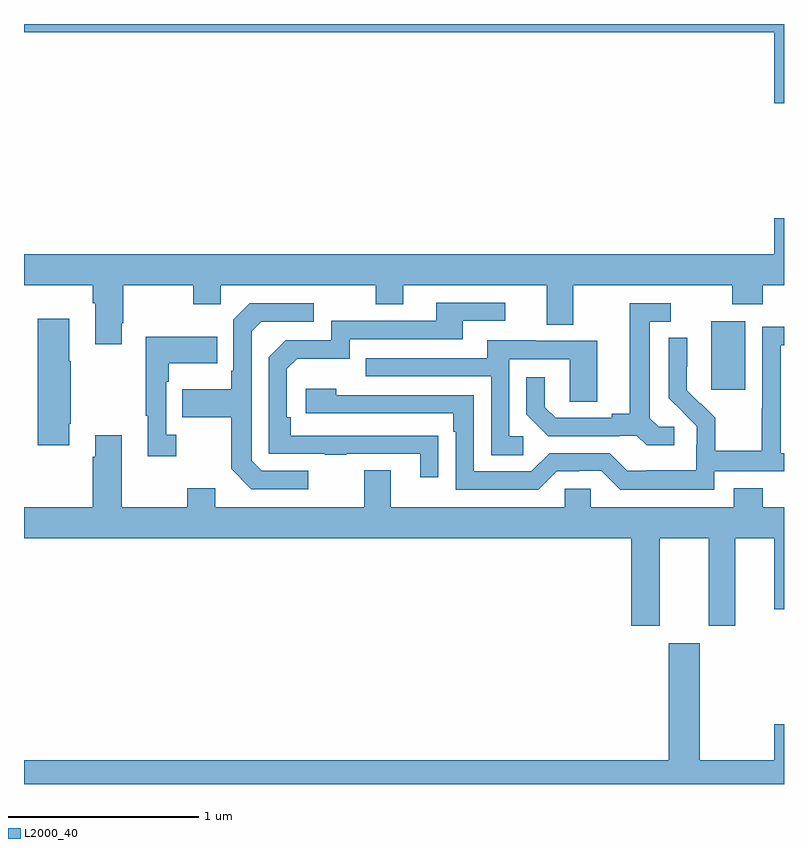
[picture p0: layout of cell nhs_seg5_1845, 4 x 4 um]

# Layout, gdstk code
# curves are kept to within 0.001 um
import gdstk
lib = gdstk.Library(unit=1e-6, precision=1e-09)
def R(c, l, rs):  # rectangles x0, y0, x1, y1
    for r in rs: c.add(gdstk.rectangle(r[:2], r[2:], *l))
def P(c, l, *ps):  # polygons
    for p in ps: c.add(gdstk.Polygon(p, *l))
L2000_40 = (2000, 40)

nhs_seg5_1845 = lib.new_cell('nhs_seg5_1845')
R(nhs_seg5_1845, L2000_40, [(224.618,858.873,224.797,859.234)])
P(nhs_seg5_1845, L2000_40, [(225,860.799),(221,860.799),(221,860.756),(224.948,860.756),(224.948,860.382),(225,860.382)],
  [(221.515,859.225),(221.523,859.225),(221.523,859.424),(221.89,859.424),(221.89,859.325),(222.036,859.325),(222.036,859.424),(222.85,859.424),(222.85,859.325),(222.997,859.325),(222.997,859.424),(223.751,859.424),(223.751,859.216),(223.891,859.216),(223.891,859.424),(224.728,859.424),(224.728,859.325),(224.888,859.325),(224.888,859.424),(225,859.424),(225,859.777),(224.948,859.777),(224.948,859.588),(221,859.588),(221,859.424),(221.363,859.424),(221.363,859.328),(221.375,859.328),(221.375,859.113),(221.515,859.113)],
  [(223.181,858.632),(222.404,858.633),(222.404,858.73),(222.384,858.73),(222.384,858.984),(222.437,859.037),(222.714,859.037),(222.714,859.14),(223.309,859.14),(223.309,859.236),(223.534,859.236),(223.534,859.332),(223.169,859.332),(223.169,859.236),(222.618,859.236),(222.618,859.134),(222.378,859.134),(222.288,859.044),(222.288,858.537),(222.583,858.537),(222.583,858.532),(222.695,858.532),(222.695,858.537),(223.085,858.537),(223.085,858.414),(223.181,858.414)],
  [(222.496,858.447),(222.252,858.447),(222.198,858.501),(222.198,859.182),(222.249,859.233),(222.526,859.233),(222.526,859.329),(222.189,859.329),(222.102,859.242),(222.102,858.973),(222.09,858.973),(222.09,858.877),(221.833,858.877),(221.833,858.73),(222.09,858.73),(222.09,858.457),(222.195,858.351),(222.496,858.351)],
  [(224.422,858.678),(224.34,858.678),(224.293,858.725),(224.293,859.233),(224.404,859.233),(224.404,859.329),(224.189,859.329),(224.189,858.749),(224.093,858.749),(224.093,858.726),(223.798,858.726),(223.741,858.783),(223.741,858.94),(223.644,858.94),(223.644,858.746),(223.76,858.63),(224.132,858.63),(224.132,858.633),(224.226,858.633),(224.278,858.581),(224.422,858.581)],
  [(221.239,858.694),(221.247,858.694),(221.247,859.025),(221.239,859.025),(221.239,859.249),(221.072,859.249),(221.072,858.582),(221.239,858.582)],
  [(224.634,858.444),(225,858.444),(225,858.54),(224.982,858.54),(224.982,859.107),(225,859.107),(225,859.206),(224.886,859.206),(224.886,858.776),(224.884,858.776),(224.884,858.553),(224.639,858.553),(224.639,858.727),(224.562,858.804),(224.559,858.801),(224.489,858.872),(224.49,859.148),(224.394,859.148),(224.394,858.83),(224.54,858.682),(224.54,858.585),(224.538,858.585),(224.538,858.451),(224.275,858.451),(224.275,858.447),(224.175,858.447),(224.082,858.54),(223.767,858.54),(223.671,858.444),(223.368,858.444),(223.368,858.846),(222.644,858.846),(222.644,858.88),(222.483,858.88),(222.483,858.75),(223.259,858.75),(223.259,858.653),(223.272,858.653),(223.272,858.348),(223.707,858.348),(223.803,858.444),(223.922,858.444),(223.922,858.447),(224.037,858.447),(224.137,858.347),(224.634,858.347)],
  [(221.8,858.638),(221.748,858.638),(221.748,858.917),(221.761,858.917),(221.761,859.013),(222.017,859.013),(222.017,859.153),(221.64,859.153),(221.64,858.737),(221.651,858.737),(221.651,858.525),(221.8,858.525)],
  [(223.627,858.63),(223.554,858.63),(223.554,859.035),(223.872,859.035),(223.872,858.811),(224.017,858.811),(224.017,859.131),(223.693,859.131),(223.693,859.135),(223.439,859.135),(223.439,859.041),(222.799,859.041),(222.799,858.945),(223.458,858.945),(223.458,858.529),(223.627,858.529)],
  [(224.347,858.092),(224.603,858.092),(224.603,857.631),(224.743,857.631),(224.743,858.092),(224.948,858.092),(224.948,857.718),(225,857.718),(225,858.256),(224.888,858.256),(224.888,858.355),(224.735,858.355),(224.735,858.256),(223.983,858.256),(223.983,858.354),(223.845,858.354),(223.845,858.256),(222.931,858.256),(222.931,858.451),(222.791,858.451),(222.791,858.256),(222.007,858.256),(222.007,858.355),(221.86,858.355),(221.86,858.256),(221.515,858.256),(221.515,858.634),(221.375,858.634),(221.375,858.521),(221.363,858.521),(221.363,858.256),(221,858.256),(221,858.092),(224.195,858.092),(224.195,857.631),(224.347,857.631)],
  [(225,857.113),(224.948,857.113),(224.948,856.924),(224.557,856.924),(224.557,857.539),(224.393,857.539),(224.393,856.924),(221,856.924),(221,856.799),(225,856.799)])

lib.write_gds('nhs_seg5_1845.gds')
